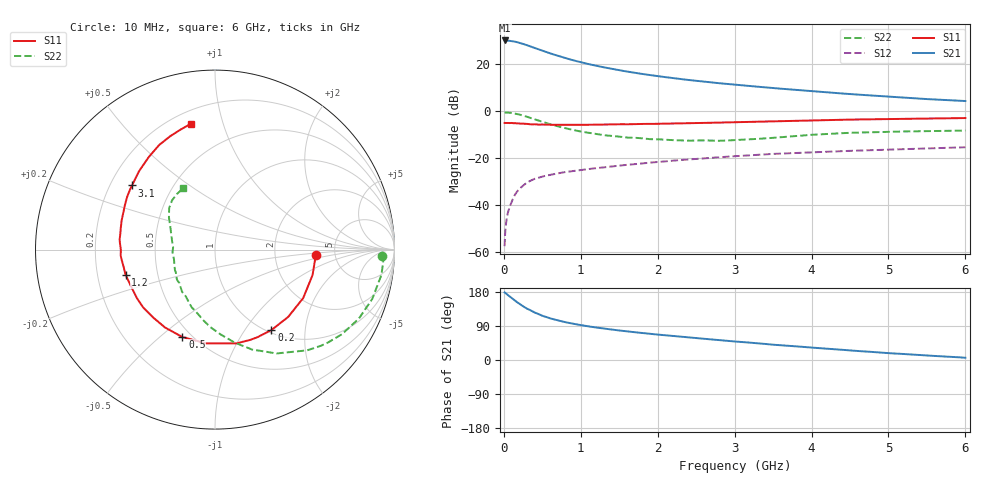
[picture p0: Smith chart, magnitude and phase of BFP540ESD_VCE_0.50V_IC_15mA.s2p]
! Infineon Technologies  Discrete & RF Semiconductors
! BFP540ESD
! VCE = 0.50 V,  IC =  15 mA
! Common Emitter S-Parameters:  Nov 2015
# GHz  S  MA  R  50
!  f  S11  S21  S12  S22
! GHz  MAG  ANG  MAG  ANG  MAG  ANG  MAG  ANG
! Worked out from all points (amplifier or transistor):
!   210 points, 10 MHz to 6 GHz, reference 50 ohm
!   highest |S21| = 30.2 dB at 10 MHz (marker M1)
!   |S21| within 3 dB of that: start of sweep to 382.3 MHz
!   unconditionally stable (mu >= 1): start of sweep to 10.42 MHz; 2.265 GHz to end of sweep
!   at 185 MHz: K = 0.19, MSG = 31.6 dB, |S12| = -33.9 dB
!   at 1.52 GHz: K = 0.86, MSG = 20.3 dB, |S12| = -23.2 dB
!   at 6 GHz: K = 1.14, MAG = 7.6 dB, |S12| = -15.4 dB
!   S11 on the Smith chart (normalised r, x): 10 MHz: 3.53, -0.29; 200 MHz: 1.04, -1.34; 500 MHz: 0.45, -0.60; 1.2 GHz: 0.32, -0.12; 3.1 GHz: 0.29, +0.32; 6 GHz: 0.28, +0.79
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0.01  0.5608 -2.9  32.53 178.3  0.0013 95.4  0.9287 -2.1
0.02  0.5599 -6.4  32.25 177.0  0.0029 92.0  0.9404 -3.2
0.05  0.5618 -14.6  32.31 171.8  0.0065 86.7  0.9381 -8.6
0.1  0.5607 -28.8  31.73 163.6  0.0113 78.7  0.9183 -17.4
0.15  0.554 -42.7  30.6 155.7  0.017 74.7  0.8889 -25.7
0.2  0.5474 -55.0  29.12 148.5  0.0217 69.1  0.85 -33.7
0.26  0.5402 -68.6  27.1 140.5  0.0264 64.4  0.7974 -42.2
0.3  0.536 -77.3  25.79 135.6  0.0298 62.2  0.7603 -47.6
0.4  0.5248 -95.5  22.51 125.3  0.0358 56.3  0.673 -59.3
0.5  0.5198 -110.5  19.71 116.7  0.04 52.9  0.5937 -69.7
0.6  0.5156 -122.6  17.24 110.1  0.0434 49.9  0.5283 -78.2
0.7  0.5117 -132.1  15.33 104.6  0.0468 48.3  0.4755 -85.9
0.8  0.5138 -141.1  13.63 99.6  0.05 47.0  0.4324 -93.5
1.02  0.5105 -155.3  10.94 91.4  0.0557 45.6  0.3626 -106.9
1.2  0.5176 -164.3  9.351 85.8  0.0606 44.4  0.3257 -117.0
1.5  0.5265 -176.4  7.502 77.9  0.0683 43.6  0.2851 -132.2
2.02  0.5382 167.5  5.552 66.7  0.0823 41.7  0.2498 -153.3
2.6  0.5613 153.1  4.276 56.0  0.0985 37.9  0.2379 -175.8
3.1  0.5845 142.3  3.568 47.4  0.1115 34.3  0.2451 167.8
4.1  0.6386 124.0  2.606 31.3  0.1337 25.5  0.3189 143.5
5.1  0.6825 110.3  2 17.0  0.1525 17.0  0.3661 129.6
6  0.7129 101.0  1.649 6.0  0.1694 10.4  0.3854 117.4
